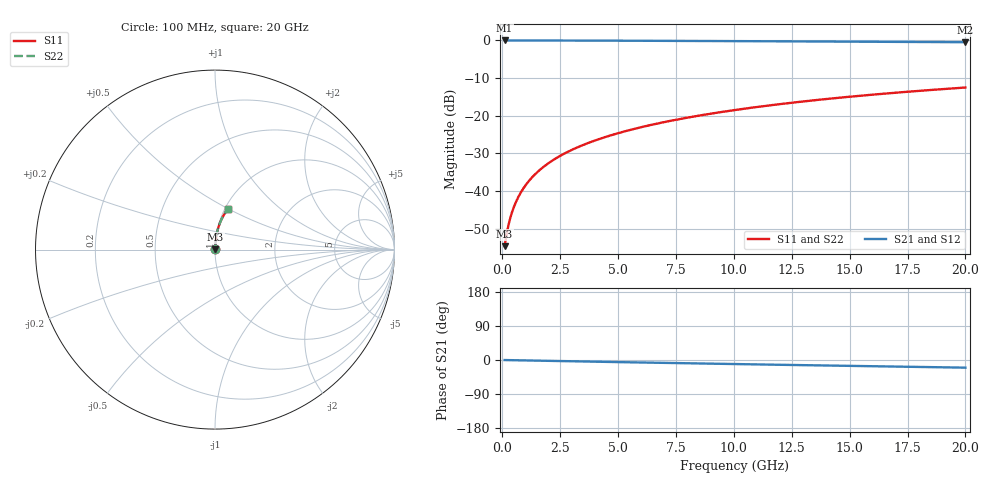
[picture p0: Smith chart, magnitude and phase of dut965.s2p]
! Touchstone file exported from HFSS 2024.1.0
!  File:  C:/UserFiles/LocalFiles/RDL_TSV_Batchsim/temp_RDL_bottom_965_1779942811.aedt
!  Generated:  12:35:47 PM May 28, 2026
!  Design:  RDL_bottom
!  Project:  temp_RDL_bottom_965_1779942811
!  Setup:  Setup1
!  Solution:  Sweep
! Variables:
!  dtsv = 10.80580581um
!  hbump = 3um
!  htsv = 67.21um
!  ldown = 255.57um
!  lrdl = 100um
!  p = 40
!  p1 = 44.07um
!  rhole = 1um
!  t = 450um
!  tdown = 4.96um
!  trdl = 3.915915916um
!  wdown = 14.34um
!  wrdl = 20um
# GHz S MA R 50.000000
! Terminal data exported
! Port[1] = RDL1_T1
! Port[2] = RDL1_T2
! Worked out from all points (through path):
!   200 points, 100 MHz to 20 GHz, reference 50 ohm
!   highest |S21| = -0.01 dB at 100 MHz (marker M1); lowest = -0.5 dB at 20 GHz (marker M2)
!   group delay of S21, straight-line fit = 2.79 ps
!   lowest |S11| = -54.7 dB at 100 MHz (marker M3), VSWR 1.00, Z = 50.1 + j0.123 ohm
!   |S11| at or under -10 dB: start of sweep to end of sweep
!   |S22| runs from -54.7 to -12.5 dB; largest |S21 - S12| = 7.2e-15
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0.1  0.001851 41.5  0.9986 -0.1  0.9986 -0.1  0.001851 41.5
! Gamma 0 0 0 0
! Port Impedance 50 0 50 0
0.2  0.00282 59.5  0.9986 -0.2  0.9986 -0.2  0.00282 59.5
0.3  0.003898 67.7  0.9985 -0.3  0.9985 -0.3  0.003898 67.7
0.4  0.005009 72.4  0.9984 -0.5  0.9984 -0.5  0.005009 72.4
0.5  0.006135 75.4  0.9984 -0.6  0.9984 -0.6  0.006135 75.4
0.6  0.00727 77.4  0.9983 -0.7  0.9983 -0.7  0.00727 77.4
0.8  0.00956 80.1  0.9982 -0.9  0.9982 -0.9  0.00956 80.1
1.1  0.01302 82.3  0.998 -1.2  0.998 -1.2  0.01302 82.3
1.5  0.01766 83.8  0.9977 -1.7  0.9977 -1.7  0.01766 83.8
1.8  0.02115 84.4  0.9974 -2.0  0.9974 -2.0  0.02115 84.4
2.1  0.02465 84.8  0.9971 -2.4  0.9971 -2.4  0.02465 84.8
2.7  0.03164 85.2  0.9963 -3.0  0.9963 -3.0  0.03164 85.2
3.5  0.04098 85.3  0.9949 -3.9  0.9949 -3.9  0.04098 85.3
4.2  0.04918 85.2  0.9936 -4.7  0.9936 -4.7  0.04918 85.2
5  0.05858 84.9  0.9919 -5.5  0.9919 -5.5  0.05859 84.9
5.9  0.06923 84.5  0.9898 -6.5  0.9898 -6.5  0.06923 84.5
6.8  0.07994 84.1  0.9875 -7.4  0.9875 -7.4  0.07994 84.1
8.3  0.09793 83.1  0.9835 -9.0  0.9835 -9.0  0.09793 83.1
10.1  0.1197 81.7  0.9784 -10.8  0.9784 -10.8  0.1197 81.7
13.4  0.1595 78.9  0.9685 -14.0  0.9685 -14.0  0.1595 78.9
16.7  0.1987 75.8  0.9579 -17.1  0.9579 -17.1  0.1987 75.8
20  0.2367 72.6  0.9466 -20.2  0.9466 -20.2  0.2367 72.6
